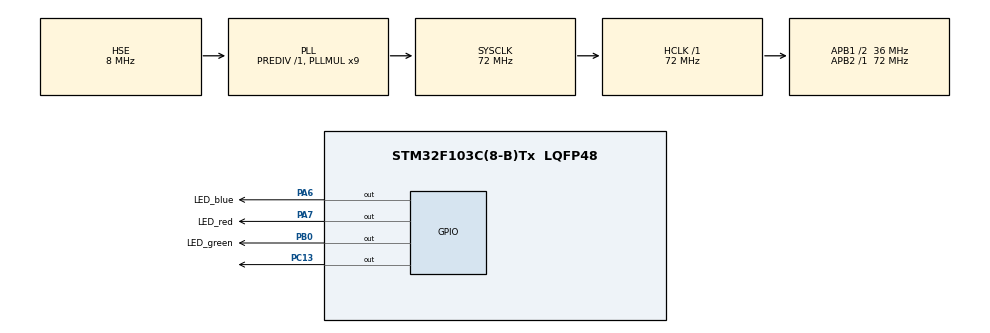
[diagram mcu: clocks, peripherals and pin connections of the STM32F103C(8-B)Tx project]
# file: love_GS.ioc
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Mcu.Family=STM32F1
Mcu.Name=STM32F103C(8-B)Tx
Mcu.Package=LQFP48
NVIC.PriorityGroup=NVIC_PRIORITYGROUP_4
PA13.Mode=Serial_Wire
PA13.Signal=SYS_JTMS-SWDIO
PA14.Mode=Serial_Wire
PA14.Signal=SYS_JTCK-SWCLK
PA6.GPIO_Label=LED_blue
PA6.GPIO_PuPd=GPIO_PULLUP
PA6.Signal=GPIO_Output
PA7.GPIO_Label=LED_red
PA7.GPIO_PuPd=GPIO_PULLUP
PA7.PinState=GPIO_PIN_SET
PA7.Signal=GPIO_Output
PB0.GPIO_Label=LED_green
PB0.GPIO_PuPd=GPIO_PULLUP
PB0.Signal=GPIO_Output
PC13-TAMPER-RTC.Signal=GPIO_Output
PC14-OSC32_IN.Mode=LSE-External-Oscillator
PC14-OSC32_IN.Signal=RCC_OSC32_IN
PC15-OSC32_OUT.Mode=LSE-External-Oscillator
PC15-OSC32_OUT.Signal=RCC_OSC32_OUT
PD0-OSC_IN.Mode=HSE-External-Oscillator
PD0-OSC_IN.Signal=RCC_OSC_IN
PD1-OSC_OUT.Mode=HSE-External-Oscillator
PD1-OSC_OUT.Signal=RCC_OSC_OUT
ProjectManager.HeapSize=0x200
ProjectManager.StackSize=0x400
ProjectManager.TargetToolchain=MDK-ARM V5.32
RCC.AHBFreq_Value=72000000
RCC.APB1CLKDivider=RCC_HCLK_DIV2
RCC.APB1Freq_Value=36000000
RCC.APB1TimFreq_Value=72000000
RCC.APB2Freq_Value=72000000
RCC.APB2TimFreq_Value=72000000
RCC.HCLKFreq_Value=72000000
RCC.PLLMUL=RCC_PLL_MUL9
RCC.PLLSourceVirtual=RCC_PLLSOURCE_HSE
RCC.SYSCLKFreq_VALUE=72000000
RCC.SYSCLKSource=RCC_SYSCLKSOURCE_PLLCLK
RCC.USBFreq_Value=72000000
board=custom

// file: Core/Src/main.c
/* USER CODE BEGIN Header */
/**
  ******************************************************************************
  * @file           : main.c
  * @brief          : Main program body
  ******************************************************************************
  * @attention
  *
  * Copyright (c) 2025 STMicroelectronics.
  * All rights reserved.
  *
  * This software is licensed under terms that can be found in the LICENSE file
  * in the root directory of this software component.
  * If no LICENSE file comes with this software, it is provided AS-IS.
  *
  ******************************************************************************
  */
/* USER CODE END Header */
#include "main.h"
#include "gpio.h"
/* USER CODE BEGIN Includes */
#include <stdlib.h>
#include <stdio.h>
/* USER CODE END Includes */

/* USER CODE BEGIN PV */
int r;
/* USER CODE END PV */

void SystemClock_Config(void);
/* USER CODE BEGIN PFP */
void light(int a){
	if (a==0){
		HAL_GPIO_WritePin(GPIOA,LED_blue_Pin,GPIO_PIN_RESET);
		HAL_Delay(100);
		HAL_GPIO_WritePin(GPIOA,LED_blue_Pin,GPIO_PIN_SET);
		HAL_Delay(100);
	}else if(a==1){
		HAL_GPIO_WritePin(GPIOA,LED_red_Pin,GPIO_PIN_RESET);
		HAL_Delay(100);
		HAL_GPIO_WritePin(GPIOA,LED_red_Pin,GPIO_PIN_SET);
		HAL_Delay(100);
	}else{
		HAL_GPIO_WritePin(GPIOB,LED_green_Pin,GPIO_PIN_RESET);
		HAL_Delay(100);
		HAL_GPIO_WritePin(GPIOB,LED_green_Pin,GPIO_PIN_SET);
		HAL_Delay(100);
	}
}
void lightInit(void){
	HAL_GPIO_WritePin(GPIOA,LED_blue_Pin,GPIO_PIN_SET);
	HAL_GPIO_WritePin(GPIOA,LED_red_Pin,GPIO_PIN_SET);
	HAL_GPIO_WritePin(GPIOB,LED_green_Pin,GPIO_PIN_SET);
}
/* USER CODE END PFP */

int main(void)
{

  /* MCU Configuration--------------------------------------------------------*/

  /* Reset of all peripherals, Initializes the Flash interface and the Systick. */
  HAL_Init();

  /* Configure the system clock */
  SystemClock_Config();

  /* Initialize all configured peripherals */
  MX_GPIO_Init();

  /* Infinite loop */
  /* USER CODE BEGIN WHILE */
	lightInit();
  while (1)
  {
//		lightInit();
//		int arr[8]={1,0,0,0,1,2,1,2};
//		for (int i=0;i<8;i++){
//			light(arr[i]);
//		}
		r=rand();

		if (r<=RAND_MAX/3*1){
			light(0);
		}else if (r<=RAND_MAX/3*2){
			light(1);
		}else{
			light(2);
		}

//		HAL_GPIO_WritePin(GPIOA,GPIO_PIN_7,GPIO_PIN_RESET);
//		HAL_Delay(1000);

    /* USER CODE END WHILE */

  }
}

void SystemClock_Config(void)
{
  RCC_OscInitTypeDef RCC_OscInitStruct = {0};
  RCC_ClkInitTypeDef RCC_ClkInitStruct = {0};

  /** Initializes the RCC Oscillators according to the specified parameters
  * in the RCC_OscInitTypeDef structure.
  */
  RCC_OscInitStruct.OscillatorType = RCC_OSCILLATORTYPE_HSE;
  RCC_OscInitStruct.HSEState = RCC_HSE_ON;
  RCC_OscInitStruct.HSEPredivValue = RCC_HSE_PREDIV_DIV1;
  RCC_OscInitStruct.HSIState = RCC_HSI_ON;
  RCC_OscInitStruct.PLL.PLLState = RCC_PLL_ON;
  RCC_OscInitStruct.PLL.PLLSource = RCC_PLLSOURCE_HSE;
  RCC_OscInitStruct.PLL.PLLMUL = RCC_PLL_MUL9;
  if (HAL_RCC_OscConfig(&RCC_OscInitStruct) != HAL_OK)
  {
    Error_Handler();
  }

  /** Initializes the CPU, AHB and APB buses clocks
  */
  RCC_ClkInitStruct.ClockType = RCC_CLOCKTYPE_HCLK|RCC_CLOCKTYPE_SYSCLK
                              |RCC_CLOCKTYPE_PCLK1|RCC_CLOCKTYPE_PCLK2;
  RCC_ClkInitStruct.SYSCLKSource = RCC_SYSCLKSOURCE_PLLCLK;
  RCC_ClkInitStruct.AHBCLKDivider = RCC_SYSCLK_DIV1;
  RCC_ClkInitStruct.APB1CLKDivider = RCC_HCLK_DIV2;
  RCC_ClkInitStruct.APB2CLKDivider = RCC_HCLK_DIV1;

  if (HAL_RCC_ClockConfig(&RCC_ClkInitStruct, FLASH_LATENCY_2) != HAL_OK)
  {
    Error_Handler();
  }
}

void Error_Handler(void)
{
  __disable_irq();
  while (1)
  {
  }
}
